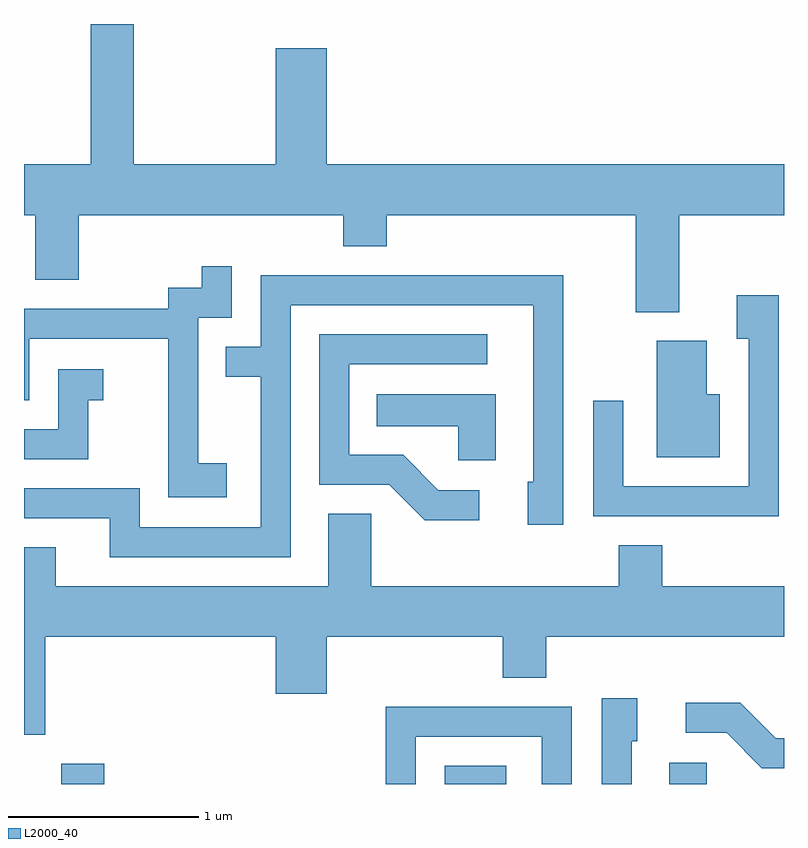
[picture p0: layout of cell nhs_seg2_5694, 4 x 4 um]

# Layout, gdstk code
import gdstk
lib = gdstk.Library(unit=1e-6, precision=1e-09)
def R(c, l, rs):  # rectangles x0, y0, x1, y1
    for r in rs: c.add(gdstk.rectangle(r[:2], r[2:], *l))
def P(c, l, *ps):  # polygons
    for p in ps: c.add(gdstk.Polygon(p, *l))
L2000_40 = (2000, 40)

nhs_seg2_5694 = lib.new_cell('nhs_seg2_5694')
R(nhs_seg2_5694, L2000_40, [(353.806,1009.802,354.034,1009.909), (355.826,1009.802,356.149,1009.899), (357.006,1009.802,357.204,1009.914)])
P(nhs_seg2_5694, L2000_40, [(357.059,1012.796),(357.611,1012.796),(357.611,1013.064),(355.204,1013.064),(355.204,1013.674),(354.936,1013.674),(354.936,1013.064),(354.189,1013.064),(354.189,1013.802),(353.961,1013.802),(353.961,1013.064),(353.611,1013.064),(353.611,1012.796),(353.671,1012.796),(353.671,1012.456),(353.899,1012.456),(353.899,1012.796),(355.291,1012.796),(355.291,1012.631),(355.519,1012.631),(355.519,1012.796),(356.831,1012.796),(356.831,1012.286),(357.059,1012.286)],
  [(354.679,1011.489),(354.529,1011.489),(354.529,1012.256),(354.704,1012.256),(354.704,1012.528),(354.546,1012.528),(354.546,1012.414),(354.371,1012.414),(354.371,1012.304),(353.611,1012.304),(353.611,1011.821),(353.639,1011.821),(353.639,1012.146),(354.371,1012.146),(354.371,1011.311),(354.679,1011.311)],
  [(355.014,1012.321),(356.291,1012.321),(356.291,1011.394),(356.261,1011.394),(356.261,1011.166),(356.449,1011.166),(356.449,1012.479),(354.856,1012.479),(354.856,1012.104),(354.673,1012.104),(354.673,1011.946),(354.856,1011.946),(354.856,1011.154),(354.219,1011.154),(354.219,1011.359),(353.611,1011.359),(353.611,1011.201),(354.061,1011.201),(354.061,1010.996),(355.014,1010.996)],
  [(357.584,1012.374),(357.361,1012.374),(357.361,1012.146),(357.426,1012.146),(357.426,1011.369),(356.764,1011.369),(356.764,1011.818),(356.606,1011.818),(356.606,1011.211),(357.584,1011.211)],
  [(356.008,1011.349),(355.792,1011.349),(355.607,1011.534),(355.324,1011.534),(355.324,1012.011),(356.048,1012.011),(356.048,1012.169),(355.166,1012.169),(355.166,1011.376),(355.534,1011.376),(355.719,1011.191),(356.008,1011.191)],
  [(357.274,1011.854),(357.204,1011.854),(357.204,1012.134),(356.941,1012.134),(356.941,1011.521),(357.274,1011.521)],
  [(353.949,1011.821),(354.028,1011.821),(354.028,1011.984),(353.791,1011.984),(353.791,1011.669),(353.611,1011.669),(353.611,1011.511),(353.949,1011.511)],
  [(356.094,1011.854),(355.468,1011.854),(355.468,1011.686),(355.896,1011.686),(355.896,1011.506),(356.094,1011.506)],
  [(353.724,1010.576),(354.936,1010.576),(354.936,1010.276),(355.204,1010.276),(355.204,1010.576),(356.131,1010.576),(356.131,1010.361),(356.359,1010.361),(356.359,1010.576),(357.611,1010.576),(357.611,1010.844),(356.969,1010.844),(356.969,1011.059),(356.741,1011.059),(356.741,1010.844),(355.439,1010.844),(355.439,1011.224),(355.211,1011.224),(355.211,1010.844),(353.779,1010.844),(353.779,1011.049),(353.611,1011.049),(353.611,1010.061),(353.724,1010.061)],
  [(356.809,1010.026),(356.839,1010.026),(356.839,1010.254),(356.651,1010.254),(356.651,1009.802),(356.809,1009.802)],
  [(357.611,1010.044),(357.567,1010.044),(357.382,1010.229),(357.093,1010.229),(357.093,1010.071),(357.309,1010.071),(357.494,1009.886),(357.611,1009.886)],
  [(355.674,1010.051),(356.336,1010.051),(356.336,1009.802),(356.494,1009.802),(356.494,1010.209),(355.516,1010.209),(355.516,1009.802),(355.674,1009.802)])

lib.write_gds('nhs_seg2_5694.gds')
